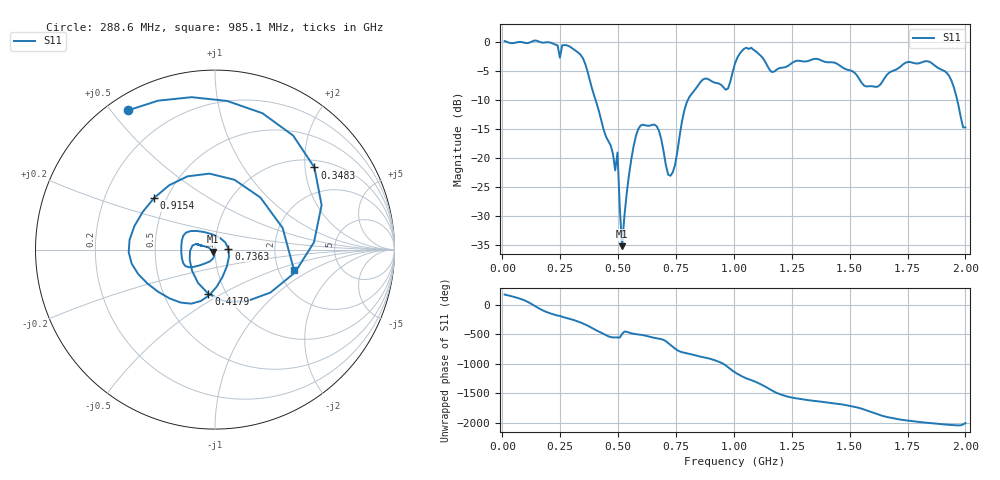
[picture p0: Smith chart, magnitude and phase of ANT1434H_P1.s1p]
!Created with skrf (http://scikit-rf.org).
# Hz S RI R 50.0
!freq ReS11 ImS11
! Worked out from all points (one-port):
!   201 points, 10 MHz to 2 GHz, reference 50 ohm
!   lowest |S11| = -35.3 dB at 517.5 MHz (marker M1), VSWR 1.04, Z = 48.7 - j1.13 ohm
!   |S11| at or under -10 dB: 402.4 MHz to 802.1 MHz (399.7 MHz wide, 66.4 % of centre); 1.964 GHz to end of sweep
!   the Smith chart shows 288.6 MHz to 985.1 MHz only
!   S11 on the Smith chart (normalised r, x): 288.6 MHz: 0.06, +0.55; 348.3 MHz: 1.18, +2.24; 417.9 MHz: 0.83, -0.43; 736.4 MHz: 1.16, +0.01; 915.5 MHz: 0.43, +0.31; 985.1 MHz: 2.43, -0.70
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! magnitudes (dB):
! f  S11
! 10 MHz  0.1
! 248.8 MHz  -2.8
! 258.8 MHz  -0.6
! 288.6 MHz  -0.8
! 348.3 MHz  -2.9
! 417.9 MHz  -12.1
! 487.6 MHz  -22.2
! 497.6 MHz  -19.1
! 507.5 MHz  -28.7
! 517.5 MHz  -35.3
! 557.2 MHz  -20.3
! 597 MHz  -14.5
! 666.7 MHz  -14.6
! 716.5 MHz  -22.9
! 736.4 MHz  -22.5
! 756.2 MHz  -18.9
! 806 MHz  -9.7
! 915.5 MHz  -7.0
! 985.1 MHz  -6.8
! 1.005 GHz  -3.8
! 1.055 GHz  -1.0
! 1.164 GHz  -5.2
! 1.254 GHz  -3.6
! 1.502 GHz  -5.0
! 1.622 GHz  -7.7
! 1.751 GHz  -3.5
! 1.92 GHz  -5.4
! 2 GHz  -14.8
